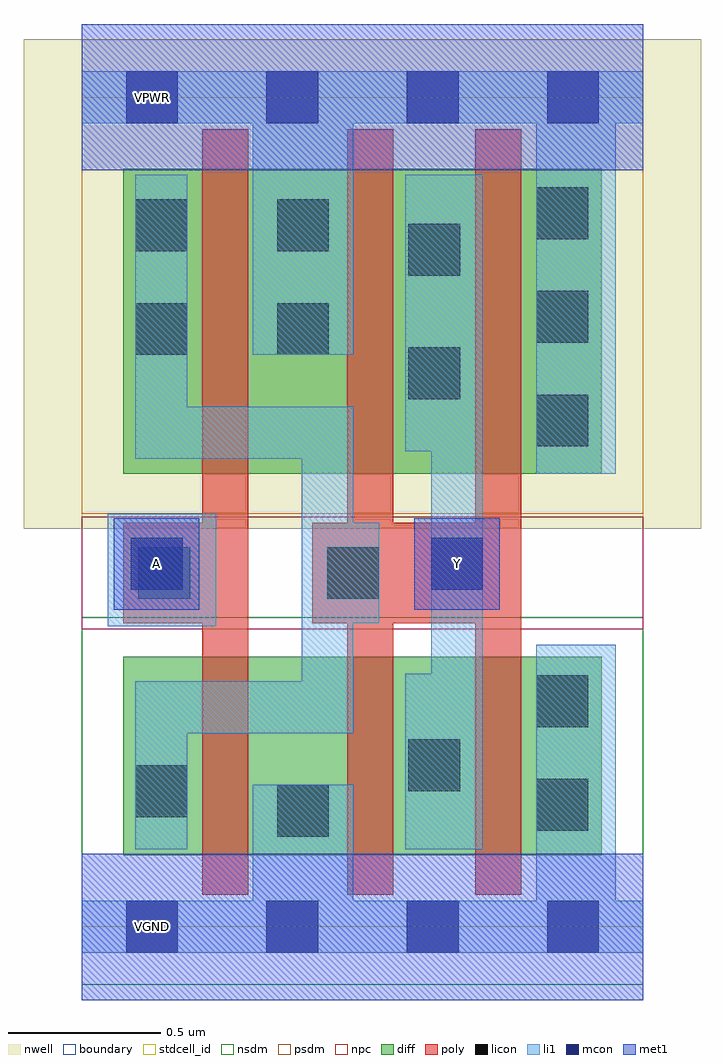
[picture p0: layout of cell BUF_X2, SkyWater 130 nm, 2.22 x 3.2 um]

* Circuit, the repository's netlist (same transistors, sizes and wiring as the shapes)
.subckt BUF_X2 A Y VPWR VGND VNB
M0 yb A VPWR nwell_i sky130_fd_pr__pfet_01v8 L=0.15u W=1.0u
M1 yb A VGND VNB sky130_fd_pr__nfet_01v8 L=0.15u W=0.65u
M2 Y yb VPWR nwell_i sky130_fd_pr__pfet_01v8 L=0.15u W=2.0u
M3 Y yb VGND VNB sky130_fd_pr__nfet_01v8 L=0.15u W=1.3u
.ends

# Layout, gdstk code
import gdstk
lib = gdstk.Library(unit=1e-6, precision=1e-09)
def R(c, l, rs):  # rectangles x0, y0, x1, y1
    for r in rs: c.add(gdstk.rectangle(r[:2], r[2:], *l))
def A(c, l, x, y, w, h, nx, ny, dx, dy):  # array of equal rectangles
    R(c, l, [(x+i*dx, y+j*dy, x+i*dx+w, y+j*dy+h) for i in range(nx) for j in range(ny)])
nwell = (64, 20)
diff = (65, 20)
poly = (66, 20)
licon = (66, 44)
li1 = (67, 20)
mcon = (67, 44)
met1 = (68, 20)
stdcell_id = (81, 4)
nsdm = (93, 44)
psdm = (94, 20)
npc = (95, 20)
boundary = (235, 4)

buf_x2 = lib.new_cell('BUF_X2')
R(buf_x2, nwell, [(-0.19,1.305,2.03,2.91)])
R(buf_x2, diff, [(0.135,0.235,1.705,0.885), (0.135,1.485,1.705,2.485)])
R(buf_x2, poly, [(0.395,0.105,0.545,2.615), (0.87,0.105,1.02,2.615), (1.29,0.105,1.44,2.615), (0.135,0.995,0.395,1.325), (0.755,0.995,1.44,1.325)])
A(buf_x2, licon, 1.49, 1.575, 0.17, 0.17, 1, 3, 0, 0.34)
R(buf_x2, licon, [(0.64,0.295,0.81,0.465), (1.49,0.315,1.66,0.485), (0.175,0.36,0.345,0.53), (1.07,0.445,1.24,0.615), (1.49,0.655,1.66,0.825), (0.185,1.075,0.355,1.245), (0.805,1.075,0.975,1.245), (1.07,1.73,1.24,1.9), (0.175,1.875,0.345,2.045), (0.64,1.875,0.81,2.045), (1.07,2.135,1.24,2.305), (0.175,2.215,0.345,2.385), (0.64,2.215,0.81,2.385)])
R(buf_x2, li1, [(0,-0.085,1.84,0.085), (0.56,0.085,0.89,0.465), (1.49,0.085,1.75,0.925), (0.175,0.255,0.345,0.805), (1.06,0.255,1.315,0.83), (0.175,0.635,0.89,0.805), (0.72,0.805,0.89,1.535), (1.145,0.83,1.315,1.56), (0.085,0.985,0.44,1.355), (0.89,0.995,0.975,1.325), (1.49,1.485,1.75,2.635), (0.175,1.535,0.89,1.705), (0.175,1.535,0.345,2.465), (1.06,1.56,1.315,2.465), (0.56,1.875,0.89,2.635), (0,2.635,1.84,2.805)])
A(buf_x2, mcon, 0.145, -0.085, 0.17, 0.17, 4, 2, 0.46, 2.72)
R(buf_x2, mcon, [(0.16,1.105,0.33,1.275), (1.145,1.105,1.315,1.275)])
R(buf_x2, met1, [(0,-0.24,1.84,0.24), (0.105,1.04,0.385,1.34), (1.09,1.04,1.37,1.34), (0,2.48,1.84,2.96)])
R(buf_x2, stdcell_id, [(0,0,1.84,2.72)])
R(buf_x2, nsdm, [(0,-0.19,1.84,1.015)])
R(buf_x2, psdm, [(0,1.355,1.84,2.91)])
R(buf_x2, npc, [(0,0.975,1.84,1.345)])
R(buf_x2, boundary, [(0,0,1.84,2.72)])
buf_x2.add(gdstk.Label('VPWR', (0.23,2.72), layer=68, texttype=5))
buf_x2.add(gdstk.Label('VGND', (0.23,0), layer=68, texttype=5))
buf_x2.add(gdstk.Label('A', (0.245,1.19), layer=68, texttype=5))
buf_x2.add(gdstk.Label('Y', (1.23,1.19), layer=68, texttype=5))

lib.write_gds('BUF_X2.gds')
